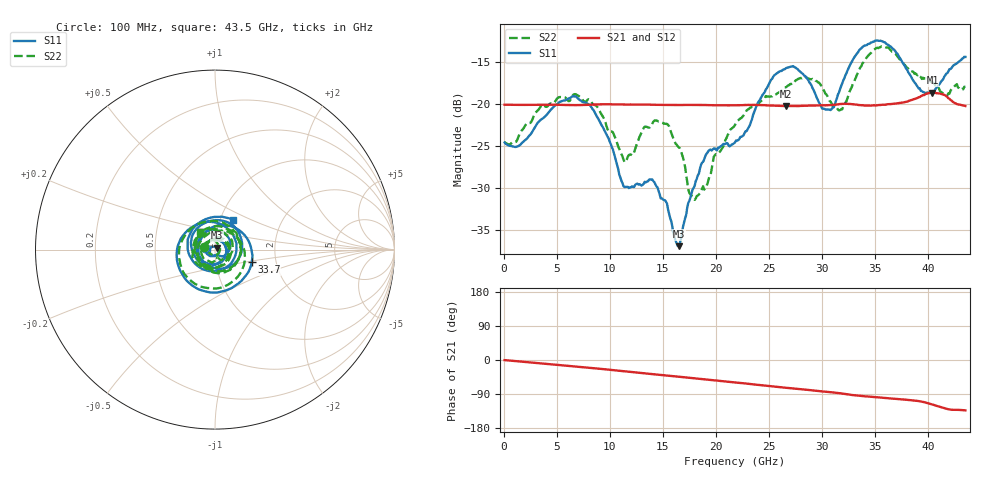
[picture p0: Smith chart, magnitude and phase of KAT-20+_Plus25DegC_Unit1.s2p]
!Created: 06-14-2018 at 14:09:34
!Mini-Circuits
!S2P DATA File Format
!Type: MMIC ATTENUATOR
!MODEL: KAT-20+
!S/N: U1_+25C
!TEST CONDITIONS: Z:50 OHM SYSTEM, INPUT POWER = 0dBm, TEMP:+25�C
!REMARK: KAT-20+ is on TB-934-20C+. 2.4MM Two Port Calibration, N4693A, S/N 12931. Thru-Line on: TB-934-20C+
!	 Expansion and contraction of cables inside the oven not accounted for.
!TESTED ON: NETWORK ANALYZER MODEL AG N5242A S/N 74837 CAL DUE DATE 11/02/18
# MHZ S DB R 50
!Frequency  S11 dB  S11 DEG  S21 dB  S21 DEG  S12 dB  S12 DEG  S22 dB  S22 DEG
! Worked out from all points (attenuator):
!   435 points, 100 MHz to 43.5 GHz, reference 50 ohm
!   highest |S21| = -18.61 dB at 40.4 GHz (marker M1); lowest = -20.2 dB at 26.6 GHz (marker M2)
!   lowest |S11| = -36.9 dB at 16.5 GHz (marker M3), VSWR 1.03, Z = 50.9 + j1.1 ohm
!   |S11| at or under -10 dB: start of sweep to end of sweep
!   |S22| runs from -31.4 to -13.1 dB; largest |S21 - S12| = 0.00018
!   S11 on the Smith chart (normalised r, x): 100 MHz: 0.89, +0.02; 33.7 GHz: 1.50, -0.21; 43.5 GHz: 1.16, +0.39
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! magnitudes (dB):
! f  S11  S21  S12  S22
! 100 MHz  -24.5  -20.0  -20.0  -24.5
! 1.4 GHz  -25.0  -20.1  -20.1  -23.9
! 3.6 GHz  -21.7  -20.0  -20.0  -20.1
! 7.4 GHz  -19.7  -20.1  -20.1  -19.4
! 9.6 GHz  -23.3  -20.0  -20.0  -22.1
! 11.4 GHz  -29.9  -20.0  -20.0  -26.9
! 13.9 GHz  -28.9  -20.0  -20.0  -22.5
! 14.6 GHz  -30.3  -20.1  -20.1  -22.0
! 16.5 GHz  -36.9  -20.1  -20.1  -25.1
! 17.5 GHz  -31.5  -20.1  -20.1  -30.5
! 18.1 GHz  -29.1  -20.1  -20.1  -31.2
! 19.3 GHz  -25.5  -20.1  -20.1  -29.0
! 21.8 GHz  -24.5  -20.1  -20.1  -22.4
! 26.6 GHz  -15.7  -20.2  -20.2  -18.0
! 29.1 GHz  -18.0  -20.1  -20.2  -17.0
! 30.6 GHz  -20.6  -20.1  -20.1  -19.3
! 31.7 GHz  -18.2  -19.9  -20.0  -20.7
! 33.7 GHz  -13.3  -20.1  -20.1  -15.5
! 36.3 GHz  -13.0  -20.0  -20.0  -13.3
! 39.2 GHz  -18.1  -19.1  -19.1  -16.6
! 40.4 GHz  -18.4  -18.6  -18.6  -17.4
! 43.5 GHz  -14.3  -20.2  -20.2  -17.9
